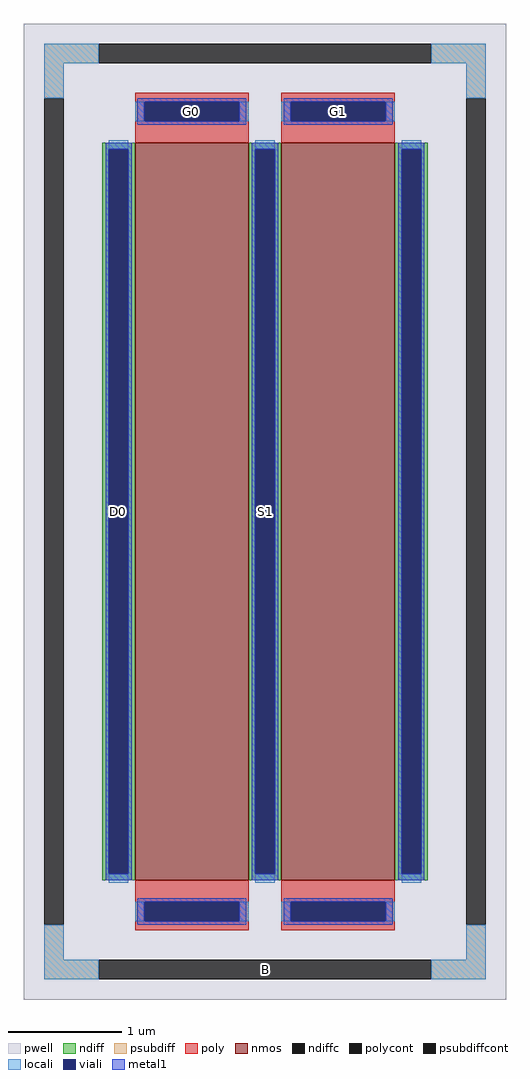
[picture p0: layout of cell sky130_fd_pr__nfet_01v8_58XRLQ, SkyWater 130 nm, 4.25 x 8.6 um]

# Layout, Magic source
magic
tech sky130A
magscale 1 2
<< pwell >>
rect -425 -860 425 860
<< nmos >>
rect -229 -650 -29 650
rect 29 -650 229 650
<< ndiff >>
rect -287 638 -229 650
rect -287 -638 -275 638
rect -241 -638 -229 638
rect -287 -650 -229 -638
rect -29 638 29 650
rect -29 -638 -17 638
rect 17 -638 29 638
rect -29 -650 29 -638
rect 229 638 287 650
rect 229 -638 241 638
rect 275 -638 287 638
rect 229 -650 287 -638
<< ndiffc >>
rect -275 -638 -241 638
rect -17 -638 17 638
rect 241 -638 275 638
<< psubdiff >>
rect -389 790 -293 824
rect 293 790 389 824
rect -389 728 -355 790
rect 355 728 389 790
rect -389 -790 -355 -728
rect 355 -790 389 -728
rect -389 -824 -293 -790
rect 293 -824 389 -790
<< psubdiffcont >>
rect -293 790 293 824
rect -389 -728 -355 728
rect 355 -728 389 728
rect -293 -824 293 -790
<< poly >>
rect -229 722 -29 738
rect -229 688 -213 722
rect -45 688 -29 722
rect -229 650 -29 688
rect 29 722 229 738
rect 29 688 45 722
rect 213 688 229 722
rect 29 650 229 688
rect -229 -688 -29 -650
rect -229 -722 -213 -688
rect -45 -722 -29 -688
rect -229 -738 -29 -722
rect 29 -688 229 -650
rect 29 -722 45 -688
rect 213 -722 229 -688
rect 29 -738 229 -722
<< polycont >>
rect -213 688 -45 722
rect 45 688 213 722
rect -213 -722 -45 -688
rect 45 -722 213 -688
<< locali >>
rect -389 790 -293 824
rect 293 790 389 824
rect -389 728 -355 790
rect 355 728 389 790
rect -229 688 -213 722
rect -45 688 -29 722
rect 29 688 45 722
rect 213 688 229 722
rect -275 638 -241 654
rect -275 -654 -241 -638
rect -17 638 17 654
rect -17 -654 17 -638
rect 241 638 275 654
rect 241 -654 275 -638
rect -229 -722 -213 -688
rect -45 -722 -29 -688
rect 29 -722 45 -688
rect 213 -722 229 -688
rect -389 -790 -355 -728
rect 355 -790 389 -728
rect -389 -824 -293 -790
rect 293 -824 389 -790
<< viali >>
rect -213 688 -45 722
rect 45 688 213 722
rect -275 -638 -241 638
rect -17 -638 17 638
rect 241 -638 275 638
rect -213 -722 -45 -688
rect 45 -722 213 -688
<< metal1 >>
rect -225 722 -33 728
rect -225 688 -213 722
rect -45 688 -33 722
rect -225 682 -33 688
rect 33 722 225 728
rect 33 688 45 722
rect 213 688 225 722
rect 33 682 225 688
rect -281 638 -235 650
rect -281 -638 -275 638
rect -241 -638 -235 638
rect -281 -650 -235 -638
rect -23 638 23 650
rect -23 -638 -17 638
rect 17 -638 23 638
rect -23 -650 23 -638
rect 235 638 281 650
rect 235 -638 241 638
rect 275 -638 281 638
rect 235 -650 281 -638
rect -225 -688 -33 -682
rect -225 -722 -213 -688
rect -45 -722 -33 -688
rect -225 -728 -33 -722
rect 33 -688 225 -682
rect 33 -722 45 -688
rect 213 -722 225 -688
rect 33 -728 225 -722
<< labels >>
rlabel psubdiffcont 0 -807 0 -807 0 B
port 1 nsew
rlabel ndiffc -258 0 -258 0 0 D0
port 2 nsew
rlabel polycont -129 705 -129 705 0 G0
port 3 nsew
rlabel ndiffc 0 0 0 0 0 S1
port 4 nsew
rlabel polycont 129 705 129 705 0 G1
port 5 nsew
<< properties >>
string FIXED_BBOX -372 -807 372 807
string gencell sky130_fd_pr__nfet_01v8
string library sky130
string parameters w 6.5 l 1.0 m 1 nf 2 diffcov 100 polycov 100 guard 1 glc 1 grc 1 gtc 1 gbc 1 tbcov 100 rlcov 100 topc 1 botc 1 poverlap 0 doverlap 1 lmin 0.15 wmin 0.42 class mosfet compatible {sky130_fd_pr__nfet_01v8 sky130_fd_pr__nfet_01v8_lvt  sky130_fd_bs_flash__special_sonosfet_star  sky130_fd_pr__nfet_g5v0d10v5 sky130_fd_pr__nfet_05v0_nvt  sky130_fd_pr__nfet_03v3_nvt} full_metal 1 conn_gates 0 viasrc 100 viadrn 100 viagate 100 viagb 0 viagr 0 viagl 0 viagt 0 doports 1
<< end >>
